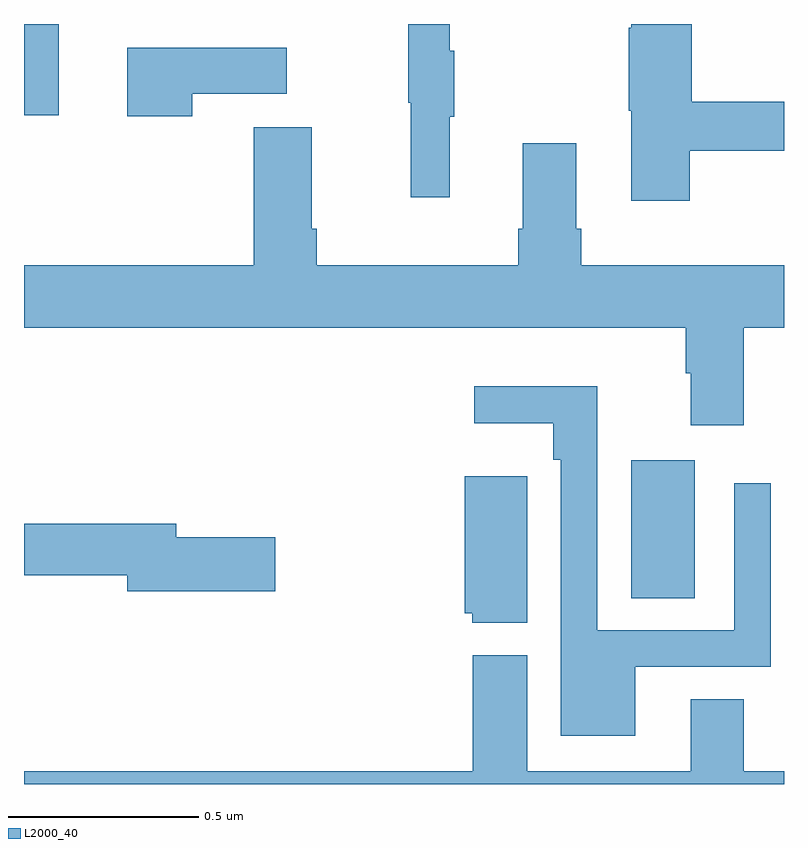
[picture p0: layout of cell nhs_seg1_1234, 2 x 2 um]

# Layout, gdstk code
import gdstk
lib = gdstk.Library(unit=1e-6, precision=1e-09)
def R(c, l, rs):  # rectangles x0, y0, x1, y1
    for r in rs: c.add(gdstk.rectangle(r[:2], r[2:], *l))
def P(c, l, *ps):  # polygons
    for p in ps: c.add(gdstk.Polygon(p, *l))
L2000_40 = (2000, 40)

nhs_seg1_1234 = lib.new_cell('nhs_seg1_1234')
R(nhs_seg1_1234, L2000_40, [(127.598,549.688,127.765,550.051), (126,550.959,126.092,551.199)])
P(nhs_seg1_1234, L2000_40, [(127.752,550.866),(128,550.866),(128,550.994),(127.757,550.994),(127.757,551.199),(127.598,551.199),(127.598,551.189),(127.591,551.189),(127.591,550.971),(127.598,550.971),(127.598,550.734),(127.752,550.734)],
  [(127.121,550.955),(127.132,550.955),(127.132,551.129),(127.121,551.129),(127.121,551.199),(127.011,551.199),(127.011,550.992),(127.018,550.992),(127.018,550.743),(127.121,550.743)],
  [(126.443,551.015),(126.691,551.015),(126.691,551.137),(126.272,551.137),(126.272,550.956),(126.443,550.956)],
  [(127.894,550.4),(128,550.4),(128,550.564),(127.466,550.564),(127.466,550.66),(127.453,550.66),(127.453,550.885),(127.313,550.885),(127.313,550.66),(127.301,550.66),(127.301,550.564),(126.77,550.564),(126.77,550.66),(126.757,550.66),(126.757,550.927),(126.605,550.927),(126.605,550.564),(126,550.564),(126,550.4),(127.742,550.4),(127.742,550.28),(127.754,550.28),(127.754,550.143),(127.894,550.143)],
  [(127.609,549.507),(127.965,549.507),(127.965,549.991),(127.869,549.991),(127.869,549.603),(127.509,549.603),(127.509,550.246),(127.185,550.246),(127.185,550.148),(127.393,550.148),(127.393,550.052),(127.413,550.052),(127.413,549.326),(127.609,549.326)],
  [(127.324,550.009),(127.16,550.009),(127.16,549.648),(127.179,549.648),(127.179,549.623),(127.324,549.623)],
  [(126.661,549.848),(126.4,549.848),(126.4,549.884),(126,549.884),(126,549.748),(126.272,549.748),(126.272,549.706),(126.661,549.706)],
  [(126,549.199),(128,549.199),(128,549.232),(127.894,549.232),(127.894,549.422),(127.754,549.422),(127.754,549.232),(127.324,549.232),(127.324,549.538),(127.181,549.538),(127.181,549.232),(126,549.232)])

lib.write_gds('nhs_seg1_1234.gds')
